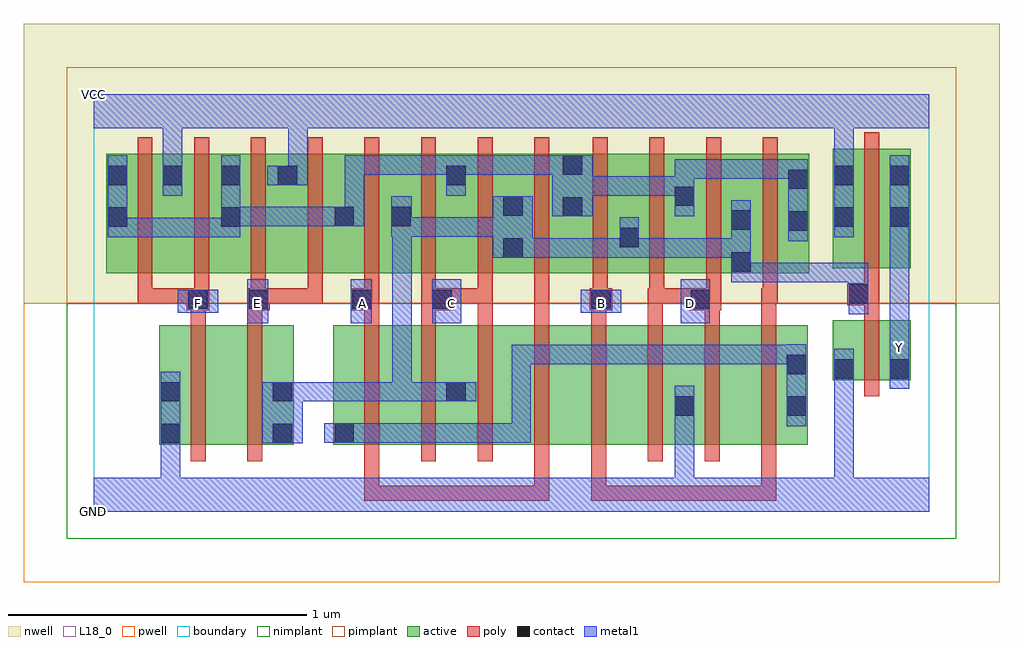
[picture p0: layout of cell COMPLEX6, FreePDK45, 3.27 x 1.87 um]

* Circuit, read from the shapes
.subckt COMPLEX6 A B C D E F GND VCC Y
M1 n1 F GND VSUBS nfet w=0.4u l=0.05u
M2 n2 E n1 VSUBS nfet w=0.4u l=0.05u
M3 n3 A n4 VSUBS nfet w=0.4u l=0.05u
M4 n2 C n3 VSUBS nfet w=0.4u l=0.05u
M5 n5 C n2 VSUBS nfet w=0.4u l=0.05u
M6 n6 A n5 VSUBS nfet w=0.4u l=0.05u
M7 n7 B n6 VSUBS nfet w=0.4u l=0.05u
M8 GND D n7 VSUBS nfet w=0.4u l=0.05u
M9 n8 D GND VSUBS nfet w=0.4u l=0.05u
M10 n4 B n8 VSUBS nfet w=0.4u l=0.05u
M11 Y n2 GND VSUBS nfet w=0.2u l=0.05u
M12 VCC F n9 n10 pfet w=0.4u l=0.05u m=2
M13 VCC E n9 n10 pfet w=0.4u l=0.05u m=2
M14 n2 A n9 n10 pfet w=0.4u l=0.05u m=2
M15 n9 C n2 n10 pfet w=0.4u l=0.05u m=2
M16 n2 B n9 n10 pfet w=0.4u l=0.05u m=2
M17 n9 D n2 n10 pfet w=0.4u l=0.05u m=2
M18 Y n2 VCC n10 pfet w=0.4u l=0.05u
.ends

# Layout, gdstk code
import gdstk
lib = gdstk.Library(unit=1e-6, precision=1e-09)
def R(c, l, rs):  # rectangles x0, y0, x1, y1
    for r in rs: c.add(gdstk.rectangle(r[:2], r[2:], *l))
def A(c, l, x, y, w, h, nx, ny, dx, dy):  # array of equal rectangles
    R(c, l, [(x+i*dx, y+j*dy, x+i*dx+w, y+j*dy+h) for i in range(nx) for j in range(ny)])
active = (1, 0)
pwell = (2, 0)
nwell = (3, 0)
nimplant = (4, 0)
pimplant = (5, 0)
poly = (9, 0)
contact = (10, 0)
metal1 = (11, 0)
L18_0 = (18, 0)
boundary = (235, 0)

complex6 = lib.new_cell('COMPLEX6')
A(complex6, active, 0.422, 0.8, 0.265, 0.4, 3, 1, 0.19, 0)
R(complex6, active, [(0.22,0.225,0.295,0.625), (0.22,0.225,0.445,0.625), (0.445,0.225,0.67,0.625), (0.595,0.225,0.67,0.625), (0.802,0.225,0.877,0.625), (0.802,0.225,1.027,0.625), (1.027,0.225,1.252,0.625), (1.177,0.225,1.407,0.625), (1.407,0.225,1.597,0.625), (1.597,0.225,1.787,0.625), (1.787,0.225,2.017,0.625), (1.942,0.225,2.167,0.625), (1.942,0.225,2.017,0.617), (2.167,0.225,2.392,0.625), (2.317,0.225,2.392,0.625), (1.177,0.245,1.252,0.617), (2.477,0.442,2.552,0.642), (2.477,0.442,2.737,0.642), (2.662,0.442,2.737,0.642), (0.042,0.8,0.117,1.192), (0.042,0.8,0.302,1.2), (0.227,0.8,0.497,1.2), (0.992,0.8,1.252,1.2), (0.992,0.8,1.067,1.07), (1.177,0.8,1.442,1.2), (1.367,0.8,1.442,1.07), (1.367,0.8,1.642,1.2), (1.567,0.8,1.832,1.2), (1.757,0.8,2.017,1.2), (1.757,0.8,1.832,1.07), (1.942,0.8,2.207,1.2), (2.132,0.8,2.397,1.2), (2.132,0.8,2.207,1.07), (2.322,0.8,2.397,1.192), (2.477,0.817,2.552,1.217), (2.477,0.817,2.737,1.217), (2.662,0.817,2.737,1.165), (0.612,0.847,0.687,1.192), (1.567,0.847,1.642,1.2), (0.227,0.907,0.302,1.192), (0.422,0.907,0.497,1.192), (0.802,0.907,0.877,1.2), (1.177,0.907,1.252,1.2), (1.942,0.907,2.017,1.192)])
R(complex6, pwell, [(-0.235,-0.235,3.035,0.7)])
R(complex6, nwell, [(-0.235,0.7,3.035,1.635)])
R(complex6, nimplant, [(-0.09,-0.09,2.89,0.7)])
R(complex6, pimplant, [(-0.09,0.7,2.89,1.49)])
A(complex6, poly, 0.907, 0.17, 0.05, 0.51, 8, 1, 0.19, 0)
A(complex6, poly, 1.477, 0.63, 0.05, 0.12, 3, 1, 0.38, 0)
A(complex6, poly, 0.147, 0.7, 0.05, 0.095, 8, 1, 0.19, 0)
A(complex6, poly, 1.672, 0.7, 0.05, 0.095, 4, 1, 0.19, 0)
A(complex6, poly, 0.147, 0.745, 0.05, 0.51, 8, 1, 0.19, 0)
A(complex6, poly, 1.672, 0.745, 0.05, 0.51, 4, 1, 0.19, 0)
R(complex6, poly, [(0.907,0.037,0.957,0.22), (0.907,0.037,0.957,0.087), (0.907,0.037,0.957,0.087), (0.907,0.037,0.957,0.087), (0.907,0.037,1.09,0.087), (1.04,0.037,1.09,0.087), (1.04,0.037,1.337,0.087), (1.287,0.037,1.337,0.087), (1.287,0.037,1.337,0.087), (1.287,0.037,1.337,0.087), (1.287,0.037,1.527,0.087), (1.477,0.037,1.527,0.22), (1.477,0.037,1.527,0.087), (1.477,0.037,1.527,0.087), (1.477,0.037,1.527,0.087), (1.667,0.037,1.717,0.22), (1.667,0.037,1.717,0.087), (1.667,0.037,1.717,0.087), (1.667,0.037,1.717,0.087), (1.667,0.037,1.912,0.087), (1.862,0.037,1.912,0.087), (1.862,0.037,1.912,0.087), (1.862,0.037,1.912,0.087), (1.862,0.037,2.155,0.087), (2.105,0.037,2.287,0.087), (2.105,0.037,2.155,0.087), (2.105,0.037,2.155,0.087), (2.105,0.037,2.155,0.087), (2.237,0.037,2.287,0.22), (2.237,0.037,2.287,0.087), (0.325,0.17,0.375,0.68), (0.515,0.17,0.565,0.68), (2.582,0.387,2.632,0.697), (0.325,0.63,0.375,0.725), (0.515,0.63,0.565,0.725), (0.907,0.63,0.957,0.725), (1.097,0.63,1.147,0.725), (1.287,0.63,1.337,0.75), (1.667,0.63,1.717,0.725), (2.047,0.63,2.097,0.725), (2.582,0.647,2.632,0.742), (0.312,0.675,0.387,0.75), (0.515,0.675,0.59,0.75), (0.862,0.675,0.957,0.75), (1.097,0.675,1.205,0.75), (1.662,0.675,1.737,0.75), (1.995,0.675,2.102,0.75), (2.525,0.692,2.632,0.767), (0.147,0.7,0.197,0.75), (0.147,0.7,0.362,0.75), (0.312,0.7,0.362,0.75), (0.312,0.7,0.362,0.75), (0.54,0.7,0.767,0.75), (0.717,0.7,0.767,0.75), (0.717,0.7,0.767,0.75), (0.717,0.7,0.767,0.75), (1.155,0.7,1.337,0.75), (1.155,0.7,1.205,0.75), (1.155,0.7,1.205,0.75), (1.287,0.7,1.337,0.75), (1.477,0.7,1.527,0.75), (1.857,0.7,1.912,0.75), (1.862,0.7,1.912,0.75), (1.862,0.7,1.912,0.75), (1.862,0.7,2.045,0.75), (2.237,0.7,2.292,0.75), (2.582,0.717,2.632,0.812), (2.582,0.762,2.632,1.272)])
R(complex6, contact, [(0.225,0.23,0.29,0.295), (0.6,0.23,0.665,0.295), (0.807,0.232,0.872,0.297), (1.947,0.322,2.012,0.387), (2.322,0.322,2.387,0.387), (0.225,0.37,0.29,0.435), (0.6,0.37,0.665,0.435), (1.182,0.37,1.247,0.435), (2.482,0.447,2.547,0.512), (2.667,0.447,2.732,0.512), (2.322,0.462,2.387,0.527), (0.317,0.68,0.382,0.745), (0.52,0.68,0.585,0.745), (0.867,0.68,0.932,0.745), (1.135,0.68,1.2,0.745), (1.667,0.68,1.732,0.745), (2,0.68,2.065,0.745), (2.53,0.697,2.595,0.762), (2.137,0.805,2.202,0.87), (1.372,0.852,1.437,0.917), (1.762,0.887,1.827,0.952), (2.327,0.942,2.392,1.007), (2.137,0.945,2.202,1.01), (0.047,0.955,0.112,1.02), (0.427,0.955,0.492,1.02), (2.482,0.955,2.547,1.02), (2.667,0.955,2.732,1.02), (0.807,0.957,0.872,1.022), (0.997,0.957,1.062,1.022), (1.572,0.99,1.637,1.055), (1.372,0.992,1.437,1.057), (1.947,1.025,2.012,1.09), (2.327,1.082,2.392,1.147), (0.047,1.095,0.112,1.16), (0.232,1.095,0.297,1.16), (0.427,1.095,0.492,1.16), (0.617,1.095,0.682,1.16), (1.182,1.095,1.247,1.16), (2.482,1.095,2.547,1.16), (2.667,1.095,2.732,1.16), (1.572,1.13,1.637,1.195)])
R(complex6, metal1, [(0,0,2.8,0.115), (0.225,0.05,0.29,0.26), (1.947,0.05,2.012,0.115), (1.947,0.05,2.012,0.115), (1.947,0.05,2.012,0.352), (2.482,0.05,2.547,0.115), (2.482,0.05,2.547,0.115), (2.482,0.05,2.547,0.115), (2.482,0.05,2.547,0.115), (2.482,0.05,2.547,0.477), (0.225,0.195,0.29,0.47), (0.225,0.195,0.29,0.26), (0.225,0.195,0.29,0.26), (0.565,0.23,0.7,0.435), (0.772,0.232,0.907,0.297), (0.842,0.232,0.907,0.297), (0.842,0.232,0.907,0.297), (0.842,0.232,1.065,0.297), (1,0.232,1.065,0.297), (1,0.232,1.182,0.297), (1.117,0.232,1.182,0.297), (1.117,0.232,1.265,0.297), (1.2,0.232,1.265,0.297), (1.2,0.232,1.32,0.297), (1.255,0.232,1.32,0.297), (1.255,0.232,1.465,0.297), (1.4,0.232,1.465,0.297), (1.4,0.232,1.465,0.56), (1.947,0.287,2.012,0.422), (2.322,0.287,2.387,0.562), (0.635,0.37,0.7,0.435), (0.635,0.37,0.7,0.435), (0.635,0.37,0.837,0.435), (0.772,0.37,0.837,0.435), (0.772,0.37,0.837,0.435), (0.772,0.37,0.837,0.435), (0.772,0.37,1.065,0.435), (1,0.37,1.065,0.435), (1,0.37,1.182,0.435), (1,0.37,1.065,0.987), (1.117,0.37,1.182,0.435), (1.117,0.37,1.212,0.435), (1.147,0.37,1.282,0.435), (2.482,0.412,2.547,0.477), (2.482,0.412,2.547,0.477), (2.482,0.412,2.547,0.547), (2.667,0.412,2.732,0.547), (2.667,0.482,2.732,0.547), (2.667,0.482,2.732,0.617), (1.4,0.495,1.465,0.56), (1.4,0.495,1.465,0.56), (1.4,0.495,1.465,0.56), (1.4,0.495,1.61,0.56), (1.545,0.495,1.61,0.56), (1.545,0.495,1.61,0.56), (1.545,0.495,1.61,0.56), (1.545,0.495,1.827,0.56), (1.762,0.495,1.827,0.56), (1.762,0.495,1.827,0.56), (1.762,0.495,1.827,0.56), (1.762,0.495,1.965,0.56), (1.9,0.495,1.965,0.56), (1.9,0.495,1.965,0.56), (1.9,0.495,1.965,0.56), (1.9,0.495,2.25,0.56), (2.185,0.495,2.25,0.56), (2.185,0.495,2.25,0.56), (2.185,0.495,2.25,0.56), (2.185,0.495,2.387,0.56), (2.667,0.552,2.732,0.985), (0.515,0.632,0.585,0.78), (0.862,0.632,0.932,0.78), (1.135,0.632,1.232,0.78), (1.967,0.632,2.065,0.78), (2.53,0.662,2.595,0.797), (0.282,0.667,0.417,0.745), (1.632,0.667,1.767,0.745), (2.53,0.732,2.595,0.797), (2.53,0.732,2.595,0.797), (2.53,0.732,2.595,0.835), (2.137,0.77,2.202,1.045), (2.137,0.77,2.41,0.835), (2.345,0.77,2.41,0.835), (2.345,0.77,2.41,0.835), (2.345,0.77,2.41,0.835), (2.345,0.77,2.595,0.835), (2.53,0.77,2.595,0.835), (1.337,0.852,1.472,1.057), (1.407,0.852,1.472,0.917), (1.407,0.852,1.472,0.917), (1.407,0.852,1.69,0.917), (1.625,0.852,1.69,0.917), (1.625,0.852,1.69,0.917), (1.625,0.852,1.69,0.917), (1.625,0.852,1.827,0.917), (1.762,0.852,1.827,0.917), (1.762,0.852,1.827,0.917), (1.762,0.852,1.827,0.987), (1.762,0.852,2.037,0.917), (1.972,0.852,2.037,0.917), (1.972,0.852,2.037,0.917), (1.972,0.852,2.037,0.917), (1.972,0.852,2.202,0.917), (2.327,0.907,2.392,1.182), (0.047,0.92,0.112,1.195), (0.047,0.92,0.112,0.985), (0.047,0.92,0.112,0.985), (0.047,0.92,0.25,0.985), (0.185,0.92,0.25,0.985), (0.185,0.92,0.25,0.985), (0.185,0.92,0.25,0.985), (0.185,0.92,0.492,0.985), (0.427,0.92,0.492,1.195), (2.482,0.92,2.547,1.195), (2.667,0.92,2.732,1.195), (0.997,0.922,1.065,1.057), (1,0.922,1.065,0.987), (1,0.922,1.065,0.987), (1,0.922,1.182,0.987), (1.117,0.922,1.182,0.987), (1.117,0.922,1.202,0.987), (1.137,0.922,1.202,0.987), (1.137,0.922,1.32,0.987), (1.255,0.922,1.32,0.987), (1.255,0.922,1.402,0.987), (0.427,0.957,0.492,1.022), (0.427,0.957,0.492,1.022), (0.427,0.957,0.7,1.022), (0.635,0.957,0.7,1.022), (0.635,0.957,0.7,1.022), (0.635,0.957,0.7,1.022), (0.635,0.957,0.837,1.022), (0.772,0.957,0.907,1.022), (0.842,0.957,0.907,1.195), (1.537,0.99,1.672,1.195), (1.947,0.99,2.012,1.125), (0.232,1.06,0.297,1.195), (1.182,1.06,1.247,1.195), (1.607,1.06,1.672,1.125), (1.607,1.06,1.672,1.125), (1.607,1.06,1.827,1.125), (1.762,1.06,1.827,1.125), (1.762,1.06,1.827,1.125), (1.762,1.06,1.827,1.125), (1.762,1.06,2.012,1.125), (1.947,1.06,2.012,1.125), (1.947,1.06,2.012,1.182), (0.582,1.095,0.717,1.16), (0.652,1.095,0.717,1.35), (1.947,1.117,2.25,1.182), (2.185,1.117,2.25,1.182), (2.185,1.117,2.25,1.182), (2.185,1.117,2.25,1.182), (2.185,1.117,2.392,1.182), (0.232,1.13,0.297,1.35), (0.842,1.13,0.907,1.195), (0.842,1.13,1.045,1.195), (0.98,1.13,1.045,1.195), (0.98,1.13,1.045,1.195), (0.98,1.13,1.045,1.195), (0.98,1.13,1.182,1.195), (1.117,1.13,1.182,1.195), (1.117,1.13,1.247,1.195), (1.182,1.13,1.32,1.195), (1.255,1.13,1.32,1.195), (1.255,1.13,1.465,1.195), (1.4,1.13,1.465,1.195), (1.4,1.13,1.465,1.195), (1.4,1.13,1.465,1.195), (1.4,1.13,1.602,1.195), (2.482,1.13,2.547,1.35), (0,1.285,2.8,1.4)])
R(complex6, L18_0, [(0,0,2.8,0.115), (0.225,0.05,0.29,0.26), (1.947,0.05,2.012,0.115), (1.947,0.05,2.012,0.115), (1.947,0.05,2.012,0.352), (2.482,0.05,2.547,0.115), (2.482,0.05,2.547,0.115), (2.482,0.05,2.547,0.115), (2.482,0.05,2.547,0.115), (2.482,0.05,2.547,0.477), (0.225,0.195,0.29,0.26), (0.225,0.195,0.29,0.26), (0.225,0.195,0.29,0.47), (1.947,0.287,2.012,0.422), (2.482,0.412,2.547,0.477), (2.482,0.412,2.547,0.477), (2.482,0.412,2.547,0.547), (2.667,0.412,2.732,0.547), (2.667,0.482,2.732,0.547), (2.667,0.482,2.732,0.617), (2.667,0.517,2.732,0.582), (2.667,0.552,2.732,0.985), (0.515,0.632,0.585,0.78), (0.862,0.632,0.932,0.78), (1.135,0.632,1.232,0.78), (1.967,0.632,2.065,0.78), (0.282,0.667,0.417,0.745), (0.317,0.667,0.382,0.732), (0.517,0.667,0.582,0.732), (0.867,0.667,0.932,0.732), (1.167,0.667,1.232,0.732), (1.632,0.667,1.767,0.745), (1.667,0.667,1.732,0.732), (1.967,0.667,2.032,0.732), (2.482,0.92,2.547,1.195), (2.667,0.92,2.732,1.195), (0.232,1.06,0.297,1.195), (0.582,1.095,0.717,1.16), (0.652,1.095,0.717,1.35), (0.232,1.13,0.297,1.35), (2.482,1.13,2.547,1.35), (0,1.285,2.8,1.4)])
R(complex6, boundary, [(0,0,2.8,1.4)])
complex6.add(gdstk.Label('A', (0.9,0.7), layer=11, texttype=0))
complex6.add(gdstk.Label('B', (1.7,0.7), layer=11, texttype=0))
complex6.add(gdstk.Label('C', (1.2,0.7), layer=11, texttype=0))
complex6.add(gdstk.Label('D', (2,0.7), layer=11, texttype=0))
complex6.add(gdstk.Label('E', (0.55,0.7), layer=11, texttype=0))
complex6.add(gdstk.Label('F', (0.35,0.7), layer=11, texttype=0))
complex6.add(gdstk.Label('Y', (2.7,0.55), layer=11, texttype=0))
complex6.add(gdstk.Label('VCC', (0,1.4), layer=11, texttype=0))
complex6.add(gdstk.Label('GND', (0,0), layer=11, texttype=0))

lib.write_gds('COMPLEX6.gds')
